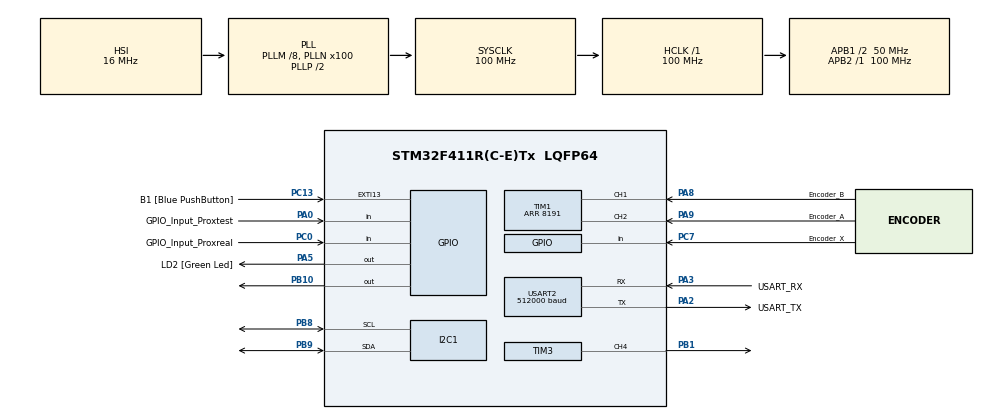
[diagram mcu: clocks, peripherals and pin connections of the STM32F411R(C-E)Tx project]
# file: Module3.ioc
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Dma.Request0=USART2_RX
Dma.Request1=USART2_TX
Dma.USART2_RX.0.Direction=DMA_PERIPH_TO_MEMORY
Dma.USART2_RX.0.FIFOMode=DMA_FIFOMODE_DISABLE
Dma.USART2_RX.0.Instance=DMA1_Stream5
Dma.USART2_RX.0.MemDataAlignment=DMA_MDATAALIGN_BYTE
Dma.USART2_RX.0.MemInc=DMA_MINC_ENABLE
Dma.USART2_RX.0.Mode=DMA_CIRCULAR
Dma.USART2_RX.0.PeriphDataAlignment=DMA_PDATAALIGN_BYTE
Dma.USART2_RX.0.PeriphInc=DMA_PINC_DISABLE
Dma.USART2_RX.0.Priority=DMA_PRIORITY_LOW
Dma.USART2_TX.1.Direction=DMA_MEMORY_TO_PERIPH
Dma.USART2_TX.1.FIFOMode=DMA_FIFOMODE_DISABLE
Dma.USART2_TX.1.Instance=DMA1_Stream6
Dma.USART2_TX.1.MemDataAlignment=DMA_MDATAALIGN_BYTE
Dma.USART2_TX.1.MemInc=DMA_MINC_ENABLE
Dma.USART2_TX.1.Mode=DMA_NORMAL
Dma.USART2_TX.1.PeriphDataAlignment=DMA_PDATAALIGN_BYTE
Dma.USART2_TX.1.PeriphInc=DMA_PINC_DISABLE
Dma.USART2_TX.1.Priority=DMA_PRIORITY_LOW
Mcu.Family=STM32F4
Mcu.Name=STM32F411R(C-E)Tx
Mcu.Package=LQFP64
NVIC.DMA1_Stream5_IRQn=true\:0\:0\:false\:false\:true\:false\:true
NVIC.DMA1_Stream6_IRQn=true\:0\:0\:false\:false\:true\:false\:true
NVIC.EXTI15_10_IRQn=true\:0\:0\:false\:false\:true\:true\:true
NVIC.PriorityGroup=NVIC_PRIORITYGROUP_0
NVIC.TIM2_IRQn=true\:0\:0\:false\:false\:true\:true\:true
NVIC.TIM4_IRQn=true\:0\:0\:false\:false\:true\:true\:true
NVIC.USART2_IRQn=true\:0\:0\:false\:false\:true\:true\:true
PA0-WKUP.GPIO_Label=GPIO_Input_Proxtest
PA0-WKUP.Signal=GPIO_Input
PA13.GPIO_Label=TMS
PA13.Mode=Serial_Wire
PA13.Signal=SYS_JTMS-SWDIO
PA14.GPIO_Label=TCK
PA14.Mode=Serial_Wire
PA14.Signal=SYS_JTCK-SWCLK
PA2.GPIO_Label=USART_TX
PA2.Mode=Asynchronous
PA2.Signal=USART2_TX
PA3.GPIO_Label=USART_RX
PA3.Mode=Asynchronous
PA3.Signal=USART2_RX
PA5.GPIO_Label=LD2 [Green Led]
PA5.Signal=GPIO_Output
PA8.GPIO_Label=Encoder_B
PA8.Signal=S_TIM1_CH1
PA9.GPIO_Label=Encoder_A
PA9.Signal=S_TIM1_CH2
PB1.Signal=S_TIM3_CH4
PB10.Signal=GPIO_Output
PB3.GPIO_Label=SWO
PB3.Signal=SYS_JTDO-SWO
PB8.Mode=I2C
PB8.Signal=I2C1_SCL
PB9.Mode=I2C
PB9.Signal=I2C1_SDA
PC0.GPIO_Label=GPIO_Input_Proxreal
PC0.Signal=GPIO_Input
PC13-ANTI_TAMP.GPIO_Label=B1 [Blue PushButton]
PC13-ANTI_TAMP.GPIO_ModeDefaultEXTI=GPIO_MODE_IT_FALLING
PC13-ANTI_TAMP.Signal=GPXTI13
PC14-OSC32_IN.Mode=LSE-External-Oscillator
PC14-OSC32_IN.Signal=RCC_OSC32_IN
PC15-OSC32_OUT.Mode=LSE-External-Oscillator
PC15-OSC32_OUT.Signal=RCC_OSC32_OUT
PC7.GPIO_Label=Encoder_X
PC7.Signal=GPIO_Input
PH0\ -\ OSC_IN.Mode=HSE-External-Clock-Source
PH0\ -\ OSC_IN.Signal=RCC_OSC_IN
PH1\ -\ OSC_OUT.Mode=HSE-External-Clock-Source
PH1\ -\ OSC_OUT.Signal=RCC_OSC_OUT
ProjectManager.HeapSize=0x200
ProjectManager.StackSize=0x400
ProjectManager.TargetToolchain=STM32CubeIDE
RCC.48MHZClocksFreq_Value=50000000
RCC.AHBFreq_Value=100000000
RCC.APB1CLKDivider=RCC_HCLK_DIV2
RCC.APB1Freq_Value=50000000
RCC.APB1TimFreq_Value=100000000
RCC.APB2Freq_Value=100000000
RCC.APB2TimFreq_Value=100000000
RCC.CortexFreq_Value=100000000
RCC.FLatency-AdvancedSettings=FLASH_LATENCY_3
RCC.HCLKFreq_Value=100000000
RCC.HSE_VALUE=8000000
RCC.HSI_VALUE=16000000
RCC.PLLM=8
RCC.PLLN=100
RCC.SYSCLKFreq_VALUE=100000000
RCC.SYSCLKSource=RCC_SYSCLKSOURCE_PLLCLK
RCC.VCOOutputFreq_Value=200000000
SH.S_TIM1_CH1.0=TIM1_CH1,Encoder_Interface
SH.S_TIM1_CH2.0=TIM1_CH2,Encoder_Interface
SH.S_TIM3_CH4.0=TIM3_CH4,PWM Generation4 CH4
TIM1.EncoderMode=TIM_ENCODERMODE_TI12
TIM1.Period=8191
TIM2.CounterMode=TIM_COUNTERMODE_UP
TIM2.Prescaler=99
TIM3.Channel-PWM\ Generation4\ CH4=TIM_CHANNEL_4
TIM3.Period=10000
TIM4.Period=1000
USART2.BaudRate=512000
USART2.Parity=PARITY_EVEN
USART2.VirtualMode=VM_ASYNC
USART2.WordLength=WORDLENGTH_9B
VP_TIM2_VS_ClockSourceINT.Mode=Internal
VP_TIM3_VS_ClockSourceINT.Mode=Internal
VP_TIM4_VS_ClockSourceINT.Mode=Internal
board=NUCLEO-F411RE

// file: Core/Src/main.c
/* USER CODE BEGIN Header */
/**
  ******************************************************************************
  * @file           : main.c
  * @brief          : Main program body
  ******************************************************************************
  * @attention
  *
  * <h2><center>&copy; Copyright (c) 2021 STMicroelectronics.
  * All rights reserved.</center></h2>
  *
  * This software component is licensed by ST under BSD 3-Clause license,
  * the "License"; You may not use this file except in compliance with the
  * License. You may obtain a copy of the License at:
  *                        opensource.org/licenses/BSD-3-Clause
  *
  ******************************************************************************
  */
/* USER CODE END Header */
#include "main.h"

/* USER CODE BEGIN Includes */
#include "math.h"
#include "string.h"
#include "stdio.h"
#include <stdlib.h>

/* USER CODE END Includes */

/* USER CODE BEGIN PD */
#define PWM_CHANNEL TIM_CHANNEL_4			//Set channel for PWM
#define GPIO_PIN_DIRECTION GPIO_PIN_10		//Set pin for direction

/* USER CODE END PD */

I2C_HandleTypeDef hi2c1;

TIM_HandleTypeDef htim1;
TIM_HandleTypeDef htim2;
TIM_HandleTypeDef htim3;
TIM_HandleTypeDef htim4;

UART_HandleTypeDef huart2;
DMA_HandleTypeDef hdma_usart2_rx;
DMA_HandleTypeDef hdma_usart2_tx;

/* USER CODE BEGIN PV */

uint8_t NO_KALMAN = 1;
uint8_t Prev_NO_KALMAN = 1;

uint64_t _micros = 0;				//Keep track of time
uint64_t Time_Sampling_Stamp = 0;	//Control loop time stamp
uint64_t Time_Velocity_Stamp = 0;
uint64_t Time_Trajectory_Stamp = 0;	//Time to calculate in "Trajectory_Generataion()"
uint16_t Encoder_Resolution = 8192; //2048*4
uint16_t Encoder_Overflow = 4096;	//8192/2
float pi = 3.14159265359;			//value of pi
const uint8_t Station_List[10] = {0,0,0,0,0,0,0,0,0,0};
uint16_t Goal_List[20] = {0};
uint16_t GO = 0;

uint16_t Distance_Length = 0;		//Long or Short distance
uint16_t Distance_Calculated = 0;	//Calculate distance yet?

//Velocity Control
float Velocity_Read_Encoder = 0;  		//Encoder's velocity Calculated from "Encoder_Velocity_Update()" in pulse per second
float Velocity_Now_RPM = 0;			//Encoder's velocity Calculated from "Encoder_Velocity_Update()" in RPM
float Velocity_Want_RPM = 0;		//Velocity calculated for control motor at the time
float Velocity_K_P = 2000;			//K_P of "Velocity_Control()"
float Velocity_K_I = 1;				//K_I of "Velocity_Control()"
float Velocity_K_D = 0;				//K_D of "Velocity_Control()"
float Velocity_Error = 0;			//Velocity error from Velocity_Want_RPM
float Velocity_Error_Sum = 0;		//Sum of Velocity_Error that will be use in integrate part of "Velocity_Control()"
float Velocity_Error_Diff = 0;		//Difference of Velocity_Error and Velocity_Error_Prev that will be use in differential part of "Velocity_Control()"
float Velocity_Error_Prev = 0;		//last Velocity_Error
int16_t PWM_Out = 0;				//PWM for motor
int16_t PWM_Out_Pre = 0;

//Position Control
float Position_Read_Encoder = 0;  		//Encoder's now position in CNT
float Position_Now_Degree = 0;		//Encoder's now position in degree
float Position_Want_Degree = 0;		//Position of the end point  (actually same as Point_Stop)
float Position_Prev_Degree = 0;		//Check that Position_Want_Degree changed or not
float Position_K_P = 228.62;		//K_P of "Position_Control()"
float Position_K_I = 0;			    //K_I of "Position_Control()"
float Position_K_D = 7.1;			//K_D of "Position_Control()"
float Position_Error = 0;			//Position error from Position_Want_Degree
float Position_Error_Sum = 0;		//Sum of Position_Error that will be use in integrate part of "Position_Control()"
float Position_Error_Diff = 0;		//Difference of Position_Error and Position_Error_Prev that will be use in differential part of "Position_Control()"
float Position_Error_Prev = 0;		//last Position_Error

//Trajectory Generation
float Accel_Max = 0.5;			    //Max acceleration & fixed at 0.5
float Velocity_Now_Rad = 0;			//Encoder's velocity Calculated from "Encoder_Velocity_Update()" in radian per second
float Velocity_Max_RPM = 10;		//Max velocity in RPM & wanted Velocity that system try to achieve & can be change by UART mode 4
float Velocity_Max_Rad = 0;			//Max velocity in radian per second
float Velocity_Achieve_RPM = 0;	    //Velocity limit in RPM motor can achieve in short distance
float Velocity_Achieve_Rad = 0; 	//Velocity limit in radian per second motor can achieve in short distance
float Distance_Degree_Set = 0;		//Distance from Point_Start to Point_Stop in degree
float Distance_Radian_Set = 0;		//Distance from Point_Start to Point_Stop in radian
float Distance_Blend = 0;			//Calculated distance for when a != 0 and check that have enough distance and time to achieve Velocity_Max_RPM or not
float Distance_Center = 0;			//Distance when Velocity_Want = Velocity_Max_RPM
float Position_Start = 0;			//Start position
float Position_Now_Rad = 0;				//Encoder's now position in radian
float Time_Blend = 0;				//Calculated time for when a != 0 and have enough distance and time to achieve Velocity_Max_RPM
float Time_All = 0;					//Calculated time for all distance
float Time_Center = 0;
uint64_t Time_Start = 0;			//Start time
float Time_Blend_Micro = 0;			//Time_Blend in microsecond
float Time_All_Micro = 0;			//Time_All in microsecond
float Time_Center_Micro = 0;
uint16_t Trajectory_Flag = 0;		//For keeping Position_Start & Time_Start or Finished

//Kalman_Filter
float Sigma_a = 14;
float Sigma_w = 0.8;
float Q = 0;
float R = 0;
float Position_Kalman = 0;
float Velocity_Kalman = 0;
float p11 = 0;
float p12 = 0;
float p21 = 0;
float p22 = 0;
const float CON_T = 0.001;

//debugging
float Flag4 = 0;
float P1 = 0;
float P2 = 0;
float P3 = 0;
float Distance_Traveled = 0;

//Mai's part debug
//quintic polynomial
//requirement
float angle_rad_start = 0; //rad
float angle_rad_stop = 0; //rad
float omega_max = 1; // 1 rad/s = 10 rpm
float alpha_max = 0.5; // rad/s^2
//find time duration for each viapoint
float tau_max = 0; // sec
float time_initial = 0; //initial time of each viapoint
//coeffient parameter
float c_0 = 0;
float c_1 = 0;
float c_2 = 0;
float c_3 = 0;
float c_4 = 0;
float c_5 = 0;
//parameter
uint8_t initial = 1;
float tau = 0; //sec
//position control
float desired_position = 0;
float error_position = 0;
float error_position_diff = 0;
float error_position_int = 0;
float error_position_prev = 0;
float position_kp = 1;
float position_ki = 0;
float position_kd = 0;
float position_bias = 0;
//velocity control
float command_velocity = 0;
float desired_velocity = 0;
float error_velocity = 0;
float error_velocity_diff = 0;
float error_velocity_int = 0;
float error_velocity_prev = 0;
float velocity_kp = 9000;
float velocity_ki = 8000;
float velocity_kd = 10;
float velocity_bias = 0;
//kalman filter
float theta_predict = 0;
float omega_predict = 0;
float theta_estimate = 0;
float omega_estimate = 0;
float p_predict11 = 0 ;
float p_predict12 = 0 ;
float p_predict21 = 0 ;
float p_predict22 = 0 ;
float p_estimate11 = 1 ;
float p_estimate12 = 0 ;
float p_estimate21 = 0 ;
float p_estimate22 = 1 ;
float z_predict = 0;
float s = 0;
float k11 = 0;
float k21 = 0;
uint64_t Prox_Delay = 0;
uint64_t Time_Delay = 0;
int i = 0;
int j = 0;
uint16_t Delay = 0;
//set home
int set_home_state = 0; //set home first
GPIO_PinState Proximity[2]; //save proximity state
int set_home_finished = 0; //already to control
float save_angle = 0; //sae angle that proximity detects robot arm
int find_proximity = 0;
uint8_t STATE_DISPLAY = 0;
uint8_t previous_state = 0;
uint8_t clear_counter_velocity = 0;
uint8_t clear_counter_position = 0;
enum State_Display{
//	SetHome_180_1 = 0,
//	SetHome_180_2,
//	Quintic,
//	Go_to_proximity,

	FindPorximity = 0,
	FoundProximity,
	GotoProximity,
	QinticStaff,
	QinticFinish,
};

//UART Protocol
typedef struct _UartStructure
{
	UART_HandleTypeDef *huart;
	uint16_t TxLen, RxLen;
	uint8_t *TxBuffer;
	uint16_t TxTail, TxHead;
	uint8_t *RxBuffer;
	uint16_t RxTail; //RXHeadUseDMA

} UARTStucrture;
uint8_t UART_Ack1[2] = {88,117};
uint8_t UART_Ack2[2] = {70,110};
UARTStucrture UART2 = {0};

typedef enum
{
	Start_Mode,
	N_Station,
	Data_Frame,
	Check_Sum,
}UART_State;

typedef enum
{
	Test_Command = 145,
	Connect_MCU,
	Disconnect_MCU,
	Velocity_Set,
	Position_Set,
	Goal_1_Set,
	Goal_N_Set,
	Go_to_Goal,
	Station_Request,
	Position_Request,
	Velocity_Request,
	Gripper_On,
	Gripper_Off,
	Home_Set
}UART_Mode;

UART_State State = Start_Mode;
UART_Mode Mode = 144;
uint8_t Frame;
uint8_t N;
uint8_t Data;
uint8_t Sum;
uint8_t len;

/* USER CODE END PV */

void SystemClock_Config(void);
static void MX_GPIO_Init(void);
static void MX_DMA_Init(void);
static void MX_USART2_UART_Init(void);
static void MX_TIM1_Init(void);
static void MX_TIM3_Init(void);
static void MX_TIM2_Init(void);
static void MX_I2C1_Init(void);
static void MX_TIM4_Init(void);
/* USER CODE BEGIN PFP */
uint64_t micros();
float Encoder_Velocity_Update();	//Read Encoder position and calculate into velocity
void Motor_Drive_PWM();				//Supply PWM and control motor
void Velocity_Control();			//PID velocity control and calculate PWM for "Motor_Drive_PWM()"
void Position_Control();			//PID position control for short distance
void Trajectory_Generation();		//Calculate velocity base on Accel_Max for long distance
void Distance_Calculation();		//Calculate distance if it short or long
void Kalman_Filter();

void UARTInit(UARTStucrture *uart);
void UARTResetStart(UARTStucrture *uart);
uint32_t UARTGetRxHead(UARTStucrture *uart);
int16_t UARTReadChar(UARTStucrture *uart);
void UARTTxDumpBuffer(UARTStucrture *uart);
void UARTTxWrite(UARTStucrture *uart, uint8_t *pData, uint16_t len);
void UART_Protocol(UARTStucrture *uart, int16_t dataIn);
void UART_Do_Command();

//Mai function
void cascade_control_with_feed_forward();
void quintic();
float Encoder_Position_Update();	//Read Encoder position unwrap

/* USER CODE END PFP */

int main(void)
{

  /* MCU Configuration--------------------------------------------------------*/

  /* Reset of all peripherals, Initializes the Flash interface and the Systick. */
  HAL_Init();

  /* Configure the system clock */
  SystemClock_Config();

  /* Initialize all configured peripherals */
  MX_GPIO_Init();
  MX_DMA_Init();
  MX_USART2_UART_Init();
  MX_TIM1_Init();
  MX_TIM3_Init();
  MX_TIM2_Init();
  MX_I2C1_Init();
  MX_TIM4_Init();
  /* USER CODE BEGIN 2 */
  HAL_TIM_Base_Start_IT(&htim2);					//micros()
  HAL_TIM_Encoder_Start(&htim1, TIM_CHANNEL_ALL);   //Start reading encoder
  HAL_TIM_Base_Start(&htim3);						//Start TIM3
  HAL_TIM_PWM_Start(&htim3, TIM_CHANNEL_4);			//Start PWM TIM3

  UART2.huart = &huart2;
  UART2.RxLen = 255;
  UART2.TxLen = 255;
  UARTInit(&UART2);
  UARTResetStart(&UART2);

  /* USER CODE END 2 */

  /* Infinite loop */
  while (1)
  {

    /* USER CODE BEGIN 3 */

	  	int16_t inputChar = UARTReadChar(&UART2);
	  	if (inputChar != -1)
	  	{
	  		UART_Protocol(&UART2, inputChar);
			len+=1;

	  	}

	  if (micros() - Time_Velocity_Stamp >= 100) //measurement
	  {
		  Time_Velocity_Stamp = micros();
		  Velocity_Read_Encoder = (Velocity_Read_Encoder*9999 + Encoder_Velocity_Update())/(float)10000; //pulse per sec
//		  Velocity_Read_Encoder = Encoder_Velocity_Update();
		  Velocity_Now_RPM = (Velocity_Read_Encoder*60)/Encoder_Resolution;	//Convert Velocity_Read_Encoder (Encoder's velocity at the moment) to RPM
		  Velocity_Now_Rad = (Velocity_Now_RPM*2*pi)/60;

		  //read position
//		  Position_Read_Encoder = htim1.Instance->CNT;
		  Position_Read_Encoder = Encoder_Position_Update();
		  Position_Now_Rad = (Position_Read_Encoder*2*M_PI)/Encoder_Resolution;  //rad
	  }

	  if (micros() - Time_Sampling_Stamp >= 1000)	  //Control loop
	  {
		  	PWM_Out_Pre = PWM_Out;
			Time_Sampling_Stamp = micros();

			//frang code set home
			Proximity[0] = HAL_GPIO_ReadPin(GPIOA, GPIO_PIN_1);
			if (set_home_finished == 0)
			{
				switch (STATE_DISPLAY) {

					case FindPorximity:
						PWM_Out = 5000;
						__HAL_TIM_SET_COMPARE(&htim3, PWM_CHANNEL, abs(PWM_Out));
						HAL_GPIO_WritePin(GPIOB, GPIO_PIN_DIRECTION, GPIO_PIN_SET);
						if (Proximity[0] == GPIO_PIN_SET && Proximity[1] == GPIO_PIN_RESET) //if not set home & proximity detects robot arm
						{
							find_proximity = 1;
							save_angle = Position_Now_Rad; //save angle that proximity detect robot arm
							Time_Delay = micros();
							Prox_Delay = micros();
							STATE_DISPLAY = FoundProximity;
						}
						break;
					case FoundProximity:
						if(micros() - Time_Delay >= 1000000){
							Time_Delay = micros();
							for ( i = 0; i < 8; ++i) {
									PWM_Out = 3*PWM_Out/4;
									__HAL_TIM_SET_COMPARE(&htim3, PWM_CHANNEL, abs(PWM_Out));
							}
						}

						if(i == 8){
//							angle_rad_start = Position_Now_Rad;
//							angle_rad_stop = Position_Now_Rad + M_PI/4;
							if (micros() - Prox_Delay >= 500000){
								Prox_Delay = micros();
								Delay += 1;
							}
							if(Delay >= 2){
								STATE_DISPLAY = GotoProximity;
							}

						}
						break;
					case GotoProximity:
						angle_rad_start = Position_Now_Rad;
						angle_rad_stop = save_angle;
						STATE_DISPLAY = QinticFinish;
						break;
					case QinticStaff:
						i = 0;
						j=0;
						quintic();
						if (initial == 1){
							if (micros() - Prox_Delay >= 500000){
								Prox_Delay = micros();
								Delay += 1;
							}
							if(Delay >= 5){
								STATE_DISPLAY = GotoProximity;
							}
						}

						break;
					case QinticFinish:
						quintic();
						if (initial == 1){
							if (micros()/1000000.0 - time_initial >= tau_max + 2)
							{
								Prox_Delay = micros();
								set_home_finished = 1;
								angle_rad_start = 0;
								angle_rad_stop = 0;
								htim1.Instance->CNT = 0;
								Position_Now_Rad = 0;
								clear_counter_position = 1;
								clear_counter_velocity = 1;
							}

						}
						break;
					default:
						break;
				}
			}

			if (set_home_finished == 1)
			{
				if (initial == 1 && angle_rad_stop - angle_rad_start != 0)
				{
					//calculate tau
					//short if condition
					tau_max = 15/8*(angle_rad_stop - angle_rad_start)/omega_max >= sqrtf(abs(((10*powf(3+sqrtf(3),1))-(5*powf(3+sqrtf(3),2))+(5*powf(3+sqrtf(3),3)/9))*(angle_rad_stop-angle_rad_start)/alpha_max)) ? 15/8*(angle_rad_stop - angle_rad_start)/omega_max : sqrtf(abs(((10*powf(3+sqrtf(3),1))-(5*powf(3+sqrtf(3),2))+(5*powf(3+sqrtf(3),3)/9))*(angle_rad_stop-angle_rad_start)/alpha_max));
				//	if (15/8*(angle_rad_stop - angle_rad_start)/omega_max >= sqrt(((10*pow(3+sqrt(3),1))-(5*pow(3+sqrt(3),2))+(5/9*pow(3+sqrt(3),3)))*(angle_rad_stop-angle_rad_start)/alpha_max))
				//	{
				//		tau_max = 15/8*(angle_rad_stop - angle_rad_start)/omega_max;
				//	}
				//	else
				//	{
				//		tau_max = sqrtf(abs(((10*powf(3+sqrtf(3),1))-(5*powf(3+sqrtf(3),2))+(5/9*powf(3+sqrtf(3),3)))*(angle_rad_stop-angle_rad_start)/alpha_max));
				//	}

					//debug
					//problem is maybe sqrt / sqrtf
				//	tau_max = 10;

					//calculate coeffient
					c_0 = angle_rad_start;
					c_1 = 0;
					c_2 = 0;
					c_3 = 10*((angle_rad_stop - angle_rad_start)/(powf(tau_max,3)));
					c_4 = 15*((angle_rad_start - angle_rad_stop)/(powf(tau_max,4)));
					c_5 = 6*((angle_rad_stop - angle_rad_start)/(powf(tau_max,5)));
					//save initial time
					//change microsec to second
					time_initial = micros()/1000000.0;
					initial = 0;

					//initial parameter in kalman filter
					theta_estimate = angle_rad_start;
					omega_estimate = 0;
					p_estimate11 = 1 ;
					p_estimate12 = 0 ;
					p_estimate21 = 0 ;
					p_estimate22 = 1 ;

				}
				if (initial == 0 && angle_rad_stop - angle_rad_start != 0 )
				{
					//at the final point
					//tau = (micros()/1000000.0)-time_initial ; in second unit
					if ((micros()/1000000.0)-time_initial >= tau_max)
					{
						initial = 1;
						angle_rad_start = angle_rad_stop;
						PWM_Out = 0;
						__HAL_TIM_SET_COMPARE(&htim3, PWM_CHANNEL, PWM_Out);
						error_position = 0;
						error_position_diff = 0;
						error_position_int = 0;
						error_position_prev = 0;
						error_velocity = 0;
						error_velocity_diff = 0;
						error_velocity_int = 0;
						error_velocity_prev = 0;
					}
					else //on going to final point
					{
						//tau = real time - initial time (duration in second unit)
						tau = micros()/1000000.0 - time_initial;
						desired_position = c_0*powf(tau,0) + c_1*powf(tau,1) + c_2*powf(tau,2) + c_3*powf(tau,3) + c_4*powf(tau,4) + c_5*powf(tau,5);
						desired_velocity = 0 + c_1 + 2*c_2*powf(tau,1) + 3*c_3*powf(tau,2) + 4*c_4*powf(tau,3) + 5*c_5*powf(tau,4);

						//kalman filter
						//predict state
						//x_predict = A*x_estimate
						//x_predict = [theta_predict; omega_predict]
						//A = [1 dt; 0 1]
						//x_estimate = [theta_estimate; omega_estimate]
						theta_predict = theta_estimate + omega_estimate*CON_T;
						omega_predict = omega_estimate;
						//p_predict = A*p_estimate*transpose(A) + G*Q*transpose(G)
						//p_predict = [p_predict11 p_predict12 ; p_predict21 p_predict22]
						//p_estimate = [p_estimate11 p_estimate12 ; p_estimate21 p_estimate22] -> initial [1 0; 0 1]
						//G = [0.5*dt^2 ; dt]
						//Q = Sigma_a^2
						Q = powf(Sigma_a,2);
						p_predict11 = p_estimate11 + (p_estimate12 + p_estimate21)*CON_T + p_estimate22*powf(CON_T,2)+powf(CON_T,4)*Q/4.0;
						p_predict12 = p_estimate12 + p_estimate22*CON_T + powf(CON_T,3)*Q/2.0;
						p_predict21 = p_estimate21 + p_estimate22*CON_T + powf(CON_T,3)*Q/2.0;
						p_predict22 = p_estimate22 + powf(CON_T,2)*Q;

						//update
						//z_predict = z - C*x_predict
						//z_predict = theta_error
						//z = sensor_theta_input
						//C = [0 1]
						z_predict = Velocity_Now_Rad - omega_predict;

						//S = C*p_predict*transpose(C) + R
						//R = Sigma_w^2
						R = powf(Sigma_w,2);
						s = p_predict22 + R;

						//K = p_predict*transpose(C)*inv(S)
						//K = [k11;k21]
						k11 = p_predict12/s;
						k21 = p_predict22/s;

						//x_estimate = x_predict + K*z_predict
						theta_estimate = theta_predict + k11*z_predict;
						omega_estimate = omega_predict + k21*z_predict;

						//p_estimate = (I - K*C)*p_predict
						//I = [1 0; 0 1]
						p_estimate11 = (p_predict11*(p_predict22+R)-p_predict12*p_predict21)/s;
						p_estimate12 = p_predict12*R/s;
						p_estimate21 = p_predict21*R/s;
						p_estimate22 = p_predict22*R/s;

						if (angle_rad_start < angle_rad_stop)
						{
							position_kd = 0;
							position_ki = 0;
							position_kp = 0.25;
							velocity_kd = 0;
							velocity_ki = 6000;
							velocity_kp = 8000;
						}
						else
						{
							position_kd = 0;
							position_ki = 0;
							position_kp = 0.5;
							velocity_kd = 0;
							velocity_ki = 1500;
							velocity_kp = 4000;
						}
						//position control
						error_position = desired_position - Position_Now_Rad;
						error_position_diff = (error_position - error_position_prev)*1000.0;
						error_position_int = error_position_int + error_position/1000.0;
						command_velocity = position_kp*error_position + position_ki*error_position_int + position_kd*error_position_diff + position_bias;
						error_position_prev = error_position;

				//		limitter velocity
						if (command_velocity > 1)
						{
							command_velocity = 1;
						}
						else if (command_velocity < -1)
						{
							command_velocity = -1;
						}

						//velocity control
						error_velocity = desired_velocity - omega_estimate + command_velocity;
						error_velocity_diff = (error_velocity - error_velocity_prev)*1000.0;
						error_velocity_int = error_velocity_int + error_velocity/1000.0;
						PWM_Out = velocity_kp*error_velocity + velocity_ki*error_velocity_int + velocity_kd*error_velocity_diff + velocity_bias;
						error_velocity_prev = error_velocity;

				//		if ((PWM_Out > 200) || (PWM_Out < -200) )
				//		{
				//			if (PWM_Out > PWM_Out_Pre + 5)
				//			{
				//				PWM_Out = PWM_Out_Pre + 5;
				//			}
				//			else if (PWM_Out < PWM_Out_Pre - 5)
				//			{
				//				PWM_Out = PWM_Out_Pre - 5;
				//			}
				//		}

						//limitter pwm
						if (PWM_Out > 10000)
						{
							PWM_Out = 10000;
						}
						else if (PWM_Out < -10000)
						{
							PWM_Out = -10000;
						}

				//		if (tau < tau_max/2)
				//		{
				//			if (PWM_Out < 0)
				//			{
				//				PWM_Out = -PWM_Out;
				//			}
				//		}

						//control motor direction
						if (PWM_Out < 0)
//						if (angle_rad_start > angle_rad_stop)
						{
							__HAL_TIM_SET_COMPARE(&htim3, PWM_CHANNEL, abs(PWM_Out));
							HAL_GPIO_WritePin(GPIOB, GPIO_PIN_DIRECTION, GPIO_PIN_RESET);
						}
				//		else if (PWM_Out >= 0)
						else
						{
							__HAL_TIM_SET_COMPARE(&htim3, PWM_CHANNEL, abs(PWM_Out));
							HAL_GPIO_WritePin(GPIOB, GPIO_PIN_DIRECTION, GPIO_PIN_SET);
						}

					}
				}
			}

//			if(NO_KALMAN)
//			{
//				Position_Read_Encoder = htim1.Instance->CNT; //Read Encoder
//				Position_Now_Degree = (Position_Read_Encoder*360)/Encoder_Resolution; //Convert Encoder CNT to degree
//				NO_KALMAN=Prev_NO_KALMAN;
//			}
//			else
//			{
//				if(NO_KALMAN!=Prev_NO_KALMAN)
//				{
//					Position_Read_Encoder = htim1.Instance->CNT; //Read Encoder
//					Position_Now_Degree = (Position_Read_Encoder*360)/Encoder_Resolution; //Convert Encoder CNT to degree
//					Position_Kalman = Position_Now_Degree*pi/180;
//				}
//
//				Kalman_Filter();
//				Position_Now_Rad = Position_Kalman;
//				Velocity_Now_Rad = Velocity_Kalman;
//				Position_Now_Degree = Position_Now_Rad*180/pi;
//			}
//
//
//		if ((Distance_Calculated == 0 )&& (Position_Now_Degree != Position_Want_Degree)) //Distance not calculated and not arrive at next station
//			{
//				Distance_Calculation();		//Calculate distance
//			}
//			else if ((Distance_Calculated == 1) && (Position_Now_Degree != Position_Want_Degree) && (Trajectory_Flag < 5)) //Distance calculated and not arrive at next station
//			{
//				Trajectory_Generation();	//Get Velocity_Want_RPM
//				Velocity_Control();
//				Motor_Drive_PWM();			//Drive
//
//				if(Trajectory_Flag == 4)
//				{
//					/*if(Distance_Length == 0)
//					{
//						Trajectory_Flag = 5;
//					}
//					else if (Distance_Length == 1)
//					{
//						Distance_Calculation();
//						Trajectory_Flag = 0;
//					}*/
//
//					Trajectory_Flag = 5;
//
//				}
//
//
//			}
//
//
//			if (Trajectory_Flag == 5)		//Reach next station
//			{
//
//				if (Position_Prev_Degree != Position_Want_Degree)	//Change goal
//				{
//					Trajectory_Flag = 0;	//Reset flag
//					Distance_Calculated = 0;//Reset distance
//					Velocity_Want_RPM = 0;  //Reset Velocity_Want_RPM
//					Velocity_Error_Sum = 0;
//				}
//				Velocity_Want_RPM = 0;
//				Velocity_Control();
//				PWM_Out = 0;
//				Motor_Drive_PWM();			//Drive
//
//			}
//			Position_Prev_Degree = Position_Want_Degree; //Check that Position_Want_Degree change or not

	  }
  }
  /* USER CODE END 3 */
}

void SystemClock_Config(void)
{
  RCC_OscInitTypeDef RCC_OscInitStruct = {0};
  RCC_ClkInitTypeDef RCC_ClkInitStruct = {0};

  /** Configure the main internal regulator output voltage
  */
  __HAL_RCC_PWR_CLK_ENABLE();
  __HAL_PWR_VOLTAGESCALING_CONFIG(PWR_REGULATOR_VOLTAGE_SCALE1);
  /** Initializes the RCC Oscillators according to the specified parameters
  * in the RCC_OscInitTypeDef structure.
  */
  RCC_OscInitStruct.OscillatorType = RCC_OSCILLATORTYPE_HSI;
  RCC_OscInitStruct.HSIState = RCC_HSI_ON;
  RCC_OscInitStruct.HSICalibrationValue = RCC_HSICALIBRATION_DEFAULT;
  RCC_OscInitStruct.PLL.PLLState = RCC_PLL_ON;
  RCC_OscInitStruct.PLL.PLLSource = RCC_PLLSOURCE_HSI;
  RCC_OscInitStruct.PLL.PLLM = 8;
  RCC_OscInitStruct.PLL.PLLN = 100;
  RCC_OscInitStruct.PLL.PLLP = RCC_PLLP_DIV2;
  RCC_OscInitStruct.PLL.PLLQ = 4;
  if (HAL_RCC_OscConfig(&RCC_OscInitStruct) != HAL_OK)
  {
    Error_Handler();
  }
  /** Initializes the CPU, AHB and APB buses clocks
  */
  RCC_ClkInitStruct.ClockType = RCC_CLOCKTYPE_HCLK|RCC_CLOCKTYPE_SYSCLK
                              |RCC_CLOCKTYPE_PCLK1|RCC_CLOCKTYPE_PCLK2;
  RCC_ClkInitStruct.SYSCLKSource = RCC_SYSCLKSOURCE_PLLCLK;
  RCC_ClkInitStruct.AHBCLKDivider = RCC_SYSCLK_DIV1;
  RCC_ClkInitStruct.APB1CLKDivider = RCC_HCLK_DIV2;
  RCC_ClkInitStruct.APB2CLKDivider = RCC_HCLK_DIV1;

  if (HAL_RCC_ClockConfig(&RCC_ClkInitStruct, FLASH_LATENCY_3) != HAL_OK)
  {
    Error_Handler();
  }
}

static void MX_I2C1_Init(void)
{

  hi2c1.Instance = I2C1;
  hi2c1.Init.ClockSpeed = 100000;
  hi2c1.Init.DutyCycle = I2C_DUTYCYCLE_2;
  hi2c1.Init.OwnAddress1 = 0;
  hi2c1.Init.AddressingMode = I2C_ADDRESSINGMODE_7BIT;
  hi2c1.Init.DualAddressMode = I2C_DUALADDRESS_DISABLE;
  hi2c1.Init.OwnAddress2 = 0;
  hi2c1.Init.GeneralCallMode = I2C_GENERALCALL_DISABLE;
  hi2c1.Init.NoStretchMode = I2C_NOSTRETCH_DISABLE;
  if (HAL_I2C_Init(&hi2c1) != HAL_OK)
  {
    Error_Handler();
  }

}

static void MX_TIM1_Init(void)
{

  TIM_Encoder_InitTypeDef sConfig = {0};
  TIM_MasterConfigTypeDef sMasterConfig = {0};

  htim1.Instance = TIM1;
  htim1.Init.Prescaler = 0;
  htim1.Init.CounterMode = TIM_COUNTERMODE_UP;
  htim1.Init.Period = 8191;
  htim1.Init.ClockDivision = TIM_CLOCKDIVISION_DIV1;
  htim1.Init.RepetitionCounter = 0;
  htim1.Init.AutoReloadPreload = TIM_AUTORELOAD_PRELOAD_DISABLE;
  sConfig.EncoderMode = TIM_ENCODERMODE_TI12;
  sConfig.IC1Polarity = TIM_ICPOLARITY_RISING;
  sConfig.IC1Selection = TIM_ICSELECTION_DIRECTTI;
  sConfig.IC1Prescaler = TIM_ICPSC_DIV1;
  sConfig.IC1Filter = 0;
  sConfig.IC2Polarity = TIM_ICPOLARITY_RISING;
  sConfig.IC2Selection = TIM_ICSELECTION_DIRECTTI;
  sConfig.IC2Prescaler = TIM_ICPSC_DIV1;
  sConfig.IC2Filter = 0;
  if (HAL_TIM_Encoder_Init(&htim1, &sConfig) != HAL_OK)
  {
    Error_Handler();
  }
  sMasterConfig.MasterOutputTrigger = TIM_TRGO_RESET;
  sMasterConfig.MasterSlaveMode = TIM_MASTERSLAVEMODE_DISABLE;
  if (HAL_TIMEx_MasterConfigSynchronization(&htim1, &sMasterConfig) != HAL_OK)
  {
    Error_Handler();
  }

}

static void MX_TIM2_Init(void)
{

  TIM_ClockConfigTypeDef sClockSourceConfig = {0};
  TIM_MasterConfigTypeDef sMasterConfig = {0};

  htim2.Instance = TIM2;
  htim2.Init.Prescaler = 99;
  htim2.Init.CounterMode = TIM_COUNTERMODE_UP;
  htim2.Init.Period = 4294967295;
  htim2.Init.ClockDivision = TIM_CLOCKDIVISION_DIV1;
  htim2.Init.AutoReloadPreload = TIM_AUTORELOAD_PRELOAD_DISABLE;
  if (HAL_TIM_Base_Init(&htim2) != HAL_OK)
  {
    Error_Handler();
  }
  sClockSourceConfig.ClockSource = TIM_CLOCKSOURCE_INTERNAL;
  if (HAL_TIM_ConfigClockSource(&htim2, &sClockSourceConfig) != HAL_OK)
  {
    Error_Handler();
  }
  sMasterConfig.MasterOutputTrigger = TIM_TRGO_RESET;
  sMasterConfig.MasterSlaveMode = TIM_MASTERSLAVEMODE_DISABLE;
  if (HAL_TIMEx_MasterConfigSynchronization(&htim2, &sMasterConfig) != HAL_OK)
  {
    Error_Handler();
  }
  /* USER CODE BEGIN TIM2_Init 2 */
  __HAL_TIM_CLEAR_FLAG(&htim2, TIM_SR_UIF);

  /* USER CODE END TIM2_Init 2 */

}

static void MX_TIM3_Init(void)
{

  TIM_ClockConfigTypeDef sClockSourceConfig = {0};
  TIM_MasterConfigTypeDef sMasterConfig = {0};
  TIM_OC_InitTypeDef sConfigOC = {0};

  htim3.Instance = TIM3;
  htim3.Init.Prescaler = 0;
  htim3.Init.CounterMode = TIM_COUNTERMODE_UP;
  htim3.Init.Period = 10000;
  htim3.Init.ClockDivision = TIM_CLOCKDIVISION_DIV1;
  htim3.Init.AutoReloadPreload = TIM_AUTORELOAD_PRELOAD_DISABLE;
  if (HAL_TIM_Base_Init(&htim3) != HAL_OK)
  {
    Error_Handler();
  }
  sClockSourceConfig.ClockSource = TIM_CLOCKSOURCE_INTERNAL;
  if (HAL_TIM_ConfigClockSource(&htim3, &sClockSourceConfig) != HAL_OK)
  {
    Error_Handler();
  }
  if (HAL_TIM_PWM_Init(&htim3) != HAL_OK)
  {
    Error_Handler();
  }
  sMasterConfig.MasterOutputTrigger = TIM_TRGO_RESET;
  sMasterConfig.MasterSlaveMode = TIM_MASTERSLAVEMODE_DISABLE;
  if (HAL_TIMEx_MasterConfigSynchronization(&htim3, &sMasterConfig) != HAL_OK)
  {
    Error_Handler();
  }
  sConfigOC.OCMode = TIM_OCMODE_PWM1;
  sConfigOC.Pulse = 0;
  sConfigOC.OCPolarity = TIM_OCPOLARITY_HIGH;
  sConfigOC.OCFastMode = TIM_OCFAST_DISABLE;
  if (HAL_TIM_PWM_ConfigChannel(&htim3, &sConfigOC, TIM_CHANNEL_4) != HAL_OK)
  {
    Error_Handler();
  }
  HAL_TIM_MspPostInit(&htim3);

}

static void MX_TIM4_Init(void)
{

  TIM_ClockConfigTypeDef sClockSourceConfig = {0};
  TIM_MasterConfigTypeDef sMasterConfig = {0};

  htim4.Instance = TIM4;
  htim4.Init.Prescaler = 0;
  htim4.Init.CounterMode = TIM_COUNTERMODE_UP;
  htim4.Init.Period = 1000;
  htim4.Init.ClockDivision = TIM_CLOCKDIVISION_DIV1;
  htim4.Init.AutoReloadPreload = TIM_AUTORELOAD_PRELOAD_DISABLE;
  if (HAL_TIM_Base_Init(&htim4) != HAL_OK)
  {
    Error_Handler();
  }
  sClockSourceConfig.ClockSource = TIM_CLOCKSOURCE_INTERNAL;
  if (HAL_TIM_ConfigClockSource(&htim4, &sClockSourceConfig) != HAL_OK)
  {
    Error_Handler();
  }
  sMasterConfig.MasterOutputTrigger = TIM_TRGO_RESET;
  sMasterConfig.MasterSlaveMode = TIM_MASTERSLAVEMODE_DISABLE;
  if (HAL_TIMEx_MasterConfigSynchronization(&htim4, &sMasterConfig) != HAL_OK)
  {
    Error_Handler();
  }

}

static void MX_USART2_UART_Init(void)
{

  huart2.Instance = USART2;
  huart2.Init.BaudRate = 512000;
  huart2.Init.WordLength = UART_WORDLENGTH_9B;
  huart2.Init.StopBits = UART_STOPBITS_1;
  huart2.Init.Parity = UART_PARITY_EVEN;
  huart2.Init.Mode = UART_MODE_TX_RX;
  huart2.Init.HwFlowCtl = UART_HWCONTROL_NONE;
  huart2.Init.OverSampling = UART_OVERSAMPLING_16;
  if (HAL_UART_Init(&huart2) != HAL_OK)
  {
    Error_Handler();
  }

}

static void MX_DMA_Init(void)
{

  /* DMA controller clock enable */
  __HAL_RCC_DMA1_CLK_ENABLE();

  /* DMA interrupt init */
  /* DMA1_Stream5_IRQn interrupt configuration */
  HAL_NVIC_SetPriority(DMA1_Stream5_IRQn, 0, 0);
  HAL_NVIC_EnableIRQ(DMA1_Stream5_IRQn);
  /* DMA1_Stream6_IRQn interrupt configuration */
  HAL_NVIC_SetPriority(DMA1_Stream6_IRQn, 0, 0);
  HAL_NVIC_EnableIRQ(DMA1_Stream6_IRQn);

}

static void MX_GPIO_Init(void)
{
  GPIO_InitTypeDef GPIO_InitStruct = {0};

  /* GPIO Ports Clock Enable */
  __HAL_RCC_GPIOC_CLK_ENABLE();
  __HAL_RCC_GPIOH_CLK_ENABLE();
  __HAL_RCC_GPIOA_CLK_ENABLE();
  __HAL_RCC_GPIOB_CLK_ENABLE();

  /*Configure GPIO pin Output Level */
  HAL_GPIO_WritePin(LD2_GPIO_Port, LD2_Pin, GPIO_PIN_RESET);

  /*Configure GPIO pin Output Level */
  HAL_GPIO_WritePin(GPIOB, GPIO_PIN_10, GPIO_PIN_RESET);

  /*Configure GPIO pin : B1_Pin */
  GPIO_InitStruct.Pin = B1_Pin;
  GPIO_InitStruct.Mode = GPIO_MODE_IT_FALLING;
  GPIO_InitStruct.Pull = GPIO_NOPULL;
  HAL_GPIO_Init(B1_GPIO_Port, &GPIO_InitStruct);

  /*Configure GPIO pins : GPIO_Input_Proxreal_Pin Encoder_X_Pin */
  GPIO_InitStruct.Pin = GPIO_Input_Proxreal_Pin|Encoder_X_Pin;
  GPIO_InitStruct.Mode = GPIO_MODE_INPUT;
  GPIO_InitStruct.Pull = GPIO_NOPULL;
  HAL_GPIO_Init(GPIOC, &GPIO_InitStruct);

  /*Configure GPIO pin : GPIO_Input_Proxtest_Pin */
  GPIO_InitStruct.Pin = GPIO_Input_Proxtest_Pin;
  GPIO_InitStruct.Mode = GPIO_MODE_INPUT;
  GPIO_InitStruct.Pull = GPIO_NOPULL;
  HAL_GPIO_Init(GPIO_Input_Proxtest_GPIO_Port, &GPIO_InitStruct);

  /*Configure GPIO pin : LD2_Pin */
  GPIO_InitStruct.Pin = LD2_Pin;
  GPIO_InitStruct.Mode = GPIO_MODE_OUTPUT_PP;
  GPIO_InitStruct.Pull = GPIO_NOPULL;
  GPIO_InitStruct.Speed = GPIO_SPEED_FREQ_LOW;
  HAL_GPIO_Init(LD2_GPIO_Port, &GPIO_InitStruct);

  /*Configure GPIO pin : PB10 */
  GPIO_InitStruct.Pin = GPIO_PIN_10;
  GPIO_InitStruct.Mode = GPIO_MODE_OUTPUT_PP;
  GPIO_InitStruct.Pull = GPIO_NOPULL;
  GPIO_InitStruct.Speed = GPIO_SPEED_FREQ_LOW;
  HAL_GPIO_Init(GPIOB, &GPIO_InitStruct);

  /* EXTI interrupt init*/
  HAL_NVIC_SetPriority(EXTI15_10_IRQn, 0, 0);
  HAL_NVIC_EnableIRQ(EXTI15_10_IRQn);

}

/* USER CODE BEGIN 4 */
float Encoder_Velocity_Update()  //Lecture code DON'T TOUCH!
{
	//Save Last state
	static uint32_t EncoderLastPosition = 0;
	static uint64_t EncoderLastTimestamp = 0;
//	static uint32_t EncoderLastOffset = 0;

	//read data
//	uint32_t EncoderNowPosition = htim1.Instance->CNT; //pulse
	uint32_t EncoderNowPosition = Encoder_Position_Update(); //use position from unwarp
	uint64_t EncoderNowTimestamp = micros();
//	uint32_t EncoderNowOffset = 0;

	int32_t EncoderPositionDiff;
	uint64_t EncoderTimeDiff;

	EncoderTimeDiff = EncoderNowTimestamp - EncoderLastTimestamp;
	EncoderPositionDiff = EncoderNowPosition - EncoderLastPosition;
	if (clear_counter_velocity == 1)
	{
		clear_counter_velocity = 0;
		EncoderNowPosition = 0;
		EncoderLastPosition = 0;
	}

	//compensate overflow and underflow
//	if (EncoderPositionDiff >= Encoder_Overflow)
//	{
//		EncoderPositionDiff -= Encoder_Resolution;
//
//		//write new unwrapping
////		EncoderNowOffset = EncoderLastOffset - Encoder_Resolution;
////		EncoderPositionDiff = EncoderPositionDiff + EncoderNowOffset;
//		//EncoderPositionDiff -= 57344;
//	}
//	else if (-EncoderPositionDiff >= Encoder_Overflow)
//	{
//		EncoderPositionDiff += Encoder_Resolution;
//
////		write new unwrap
////		EncoderNowOffset = EncoderLastOffset + Encoder_Resolution;
////		EncoderPositionDiff = EncoderPositionDiff + EncoderNowOffset;
//		//EncoderPositionDiff += 57344;
//	}

	//Update Position and time
	EncoderLastPosition = EncoderNowPosition;
	EncoderLastTimestamp = EncoderNowTimestamp;
//	EncoderLastOffset = EncoderNowOffset;

	//Calculate velocity
	//EncoderTimeDiff is in uS
	return (EncoderPositionDiff * 1000000) / (float) EncoderTimeDiff;
}

float Encoder_Position_Update()  //Lecture code DON'T TOUCH!
{
	//Save Last state
	//read data
	static uint32_t EncoderPreviousPosition = 0;
	uint32_t EncoderCurrentPosition = 0;
	int32_t EncoderPositionDifferent;
	int32_t EncoderUnwrapPosition ;
	static uint32_t EncoderPreviousOffset = 0;
	static uint32_t EncoderCurrentOffset = 0;

	EncoderCurrentPosition = htim1.Instance->CNT; //pulse

	//delta position = current - previous
	EncoderPositionDifferent = EncoderCurrentPosition - EncoderPreviousPosition;
	//signal = current + current offset
	EncoderUnwrapPosition = EncoderCurrentPosition + EncoderCurrentOffset;

	if (clear_counter_position == 1)
	{
		clear_counter_position = 0;
		EncoderPreviousPosition = 0;
		EncoderCurrentPosition = 0;
		EncoderPreviousOffset = 0;
		EncoderCurrentOffset = 0;
		EncoderUnwrapPosition = 0;
		EncoderPositionDifferent = 0;
	}

	//compensate overflow and underflow
	if (EncoderPositionDifferent >= Encoder_Overflow)
	{
//		EncoderPositionDiff -= Encoder_Resolution;
//		EncoderUnwrapPosition = EncoderCurrentPosition - Encoder_Resolution;

//		write new unwrapping
		//current offset = previous offset - resolution of encoder max
		EncoderCurrentOffset = EncoderPreviousOffset - Encoder_Resolution;
		//signal = current + current offset
		EncoderUnwrapPosition = EncoderCurrentPosition + EncoderCurrentOffset;
//		EncoderPositionDiff -= 57344;
	}
	else if (-EncoderPositionDifferent >= Encoder_Overflow)
	{
//		EncoderPositionDiff += Encoder_Resolution;
//		EncoderUnwrapPosition = EncoderCurrentPosition + Encoder_Resolution;

//		write new unwrap
		EncoderCurrentOffset = EncoderPreviousOffset + Encoder_Resolution;
		EncoderUnwrapPosition = EncoderCurrentPosition + EncoderCurrentOffset;
//		EncoderPositionDiff += 57344;
	}

	//Update Position and time
	EncoderPreviousPosition = EncoderCurrentPosition;
	EncoderPreviousOffset = EncoderCurrentOffset;

	//Calculate velocity
	//EncoderTimeDiff is in uS
	return EncoderUnwrapPosition  ;
}

#define PWM_CHANNEL TIM_CHANNEL_4			//Set channel for PWM
#define GPIO_PIN_DIRECTION GPIO_PIN_10		//Set pin for direction
void Motor_Drive_PWM()	//Motor drive
{
	if (PWM_Out > 10000)		//If Velocity_Want_RPM exceed Velocity_Max_RPM
	{
		PWM_Out = 10000;		//Run with Velocity_Max_RPM
	}
	else if (PWM_Out < -10000)		//If Velocity_Want_RPM exceed Velocity_Max_RPM
	{
		PWM_Out = -10000;		//Run with Velocity_Max_RPM
	}

	if (PWM_Out < 0)
	{
		__HAL_TIM_SET_COMPARE(&htim3, PWM_CHANNEL, -PWM_Out);
		HAL_GPIO_WritePin(GPIOB, GPIO_PIN_DIRECTION, GPIO_PIN_RESET);
	}

	else if (PWM_Out >= 0)
	{
		__HAL_TIM_SET_COMPARE(&htim3, PWM_CHANNEL, PWM_Out);
		HAL_GPIO_WritePin(GPIOB, GPIO_PIN_DIRECTION, GPIO_PIN_SET);
	}
}

void quintic()
{
	if (initial == 1 && angle_rad_stop - angle_rad_start != 0)
	{
		//calculate tau
		//short if condition
		tau_max = 15/8*(angle_rad_stop - angle_rad_start)/omega_max >= sqrtf(abs(((10*powf(3+sqrtf(3),1))-(5*powf(3+sqrtf(3),2))+(5*powf(3+sqrtf(3),3)/9))*(angle_rad_stop-angle_rad_start)/alpha_max)) ? 15/8*(angle_rad_stop - angle_rad_start)/omega_max : sqrtf(abs(((10*powf(3+sqrtf(3),1))-(5*powf(3+sqrtf(3),2))+(5*powf(3+sqrtf(3),3)/9))*(angle_rad_stop-angle_rad_start)/alpha_max));

		//calculate coeffient
		c_0 = angle_rad_start;
		c_1 = 0;
		c_2 = 0;
		c_3 = 10*((angle_rad_stop - angle_rad_start)/(powf(tau_max,3)));
		c_4 = 15*((angle_rad_start - angle_rad_stop)/(powf(tau_max,4)));
		c_5 = 6*((angle_rad_stop - angle_rad_start)/(powf(tau_max,5)));
		//save initial time
		//change microsec to second
		time_initial = micros()/1000000.0;
		initial = 0;

		//initial parameter in kalman filter
		theta_estimate = angle_rad_start;
		omega_estimate = 0;
		p_estimate11 = 1 ;
		p_estimate12 = 0 ;
		p_estimate21 = 0 ;
		p_estimate22 = 1 ;

	}
	if (initial == 0 && angle_rad_stop - angle_rad_start != 0)
	{
		//at the final point
		//tau = (micros()/1000000.0)-time_initial ; in second unit
		if ((micros()/1000000.0)-time_initial >= tau_max)
		{
			initial = 1;
			angle_rad_start = angle_rad_stop;
			PWM_Out = 0;
			__HAL_TIM_SET_COMPARE(&htim3, PWM_CHANNEL, PWM_Out);
			error_position = 0;
			error_position_diff = 0;
			error_position_int = 0;
			error_position_prev = 0;
			error_velocity = 0;
			error_velocity_diff = 0;
			error_velocity_int = 0;
			error_velocity_prev = 0;
		}
		else //on going to final point
		{
			//tau = real time - initial time (duration in second unit)
			tau = micros()/1000000.0 - time_initial;
			desired_position = c_0*powf(tau,0) + c_1*powf(tau,1) + c_2*powf(tau,2) + c_3*powf(tau,3) + c_4*powf(tau,4) + c_5*powf(tau,5);
			desired_velocity = 0 + c_1 + 2*c_2*powf(tau,1) + 3*c_3*powf(tau,2) + 4*c_4*powf(tau,3) + 5*c_5*powf(tau,4);

			//kalman filter
			Kalman_Filter();

			//cascade control
			cascade_control_with_feed_forward();
		}
	}
}

void Kalman_Filter()
{
	//predict state
	//x_predict = A*x_estimate
	//x_predict = [theta_predict; omega_predict]
	//A = [1 dt; 0 1]
	//x_estimate = [theta_estimate; omega_estimate]
	theta_predict = theta_estimate + omega_estimate*CON_T;
	omega_predict = omega_estimate;

	//p_predict = A*p_estimate*transpose(A) + G*Q*transpose(G)
	//p_predict = [p_predict11 p_predict12 ; p_predict21 p_predict22]
	//p_estimate = [p_estimate11 p_estimate12 ; p_estimate21 p_estimate22] -> initial [1 0; 0 1]
	//G = [0.5*dt^2 ; dt]
	//Q = Sigma_a^2
	Q = powf(Sigma_a,2);
	p_predict11 = p_estimate11 + (p_estimate12 + p_estimate21)*CON_T + p_estimate22*powf(CON_T,2)+powf(CON_T,4)*Q/4.0;
	p_predict12 = p_estimate12 + p_estimate22*CON_T + powf(CON_T,3)*Q/2.0;
	p_predict21 = p_estimate21 + p_estimate22*CON_T + powf(CON_T,3)*Q/2.0;
	p_predict22 = p_estimate22 + powf(CON_T,2)*Q;

	//update
	//z_predict = z - C*x_predict
	//z_predict = theta_error
	//z = sensor_theta_input
	//C = [0 1]
	z_predict = Velocity_Now_Rad - omega_predict;

	//S = C*p_predict*transpose(C) + R
	//R = Sigma_w^2
	R = powf(Sigma_w,2);
	s = p_predict22 + R;

	//K = p_predict*transpose(C)*inv(S)
	//K = [k11;k21]
	k11 = p_predict12/s;
	k21 = p_predict22/s;

	//x_estimate = x_predict + K*z_predict
	theta_estimate = theta_predict + k11*z_predict;
	omega_estimate = omega_predict + k21*z_predict;

	//p_estimate = (I - K*C)*p_predict
	//I = [1 0; 0 1]
	p_estimate11 = (p_predict11*(p_predict22+R)-p_predict12*p_predict21)/s;
	p_estimate12 = p_predict12*R/s;
	p_estimate21 = p_predict21*R/s;
	p_estimate22 = p_predict22*R/s;

//	Q = powf(Sigma_a, 2);
//	R = powf(Sigma_w, 2);
//
//	float Position_Kalman_New = Position_Kalman + (Velocity_Kalman*CON_T);
//	float Velocity_Kalman_New = 0 + Velocity_Kalman;
//	float ye = Velocity_Now_Rad - Velocity_Kalman_New;
//
//	p11 = p11 + (CON_T*p21) + (Q*powf(fabs(CON_T),4))/4 + (powf(fabs(CON_T),2)*(p12 + CON_T*p22))/CON_T;
//	p12 = p12 + (CON_T*p22) + (Q*CON_T*powf(fabs(CON_T),2))/2;
//	p21 = (2*CON_T*p21 + Q*powf(fabs(CON_T),4) + 2*p22*powf(fabs(CON_T),2))/(2*CON_T);
//	p22 = Q*powf(fabs(CON_T),2) + p22;
//
//	Position_Kalman_New = Position_Kalman_New + (p12*ye)/(R+p22);
//	Velocity_Kalman_New = Velocity_Kalman_New + (p22*ye)/(R+p22);
//
//	p11 = p11 - (p12*p21)/(R+p22);
//	p12 = p12 - (p12*p22)/(R+p22);
//	p21 = -p21*(p22/(R+22)-1);
//	p22 = -p22*(p22/(R+22)-1);
//
//	Position_Kalman = Position_Kalman_New;
//	Velocity_Kalman = Velocity_Kalman_New;
}

void cascade_control_with_feed_forward()
{
	if (angle_rad_start < angle_rad_stop)
	{
		position_kd = 0;
		position_ki = 0;
		position_kp = 0.25;
		velocity_kd = 0;
		velocity_ki = 6000;
		velocity_kp = 8000;
	}
	else
	{
		position_kd = 0;
		position_ki = 0;
		position_kp = 0.5;
		velocity_kd = 0;
		velocity_ki = 1500;
		velocity_kp = 3000;
	}

	//position control
	error_position = desired_position - Position_Now_Rad;
	error_position_diff = (error_position - error_position_prev)*1000.0;
	error_position_int = error_position_int + error_position/1000.0;
	command_velocity = position_kp*error_position + position_ki*error_position_int + position_kd*error_position_diff + position_bias;
	error_position_prev = error_position;

	//					limitter velocity
	if (command_velocity > 1)
	{
		command_velocity = 1;
	}
	else if (command_velocity < -1)
	{
		command_velocity = -1;
	}

	//velocity control
	error_velocity = desired_velocity - omega_estimate + command_velocity;
	error_velocity_diff = (error_velocity - error_velocity_prev)*1000.0;
	error_velocity_int = error_velocity_int + error_velocity/1000.0;
	PWM_Out = velocity_kp*error_velocity + velocity_ki*error_velocity_int + velocity_kd*error_velocity_diff + velocity_bias;
	error_velocity_prev = error_velocity;

	//limitter pwm
	if (PWM_Out > 10000)
	{
		PWM_Out = 10000;
	}
	else if (PWM_Out < -10000)
	{
		PWM_Out = -10000;
	}

	//control motor direction
	if (PWM_Out < 0)
//	if (angle_rad_start > angle_rad_stop)
	{
		__HAL_TIM_SET_COMPARE(&htim3, PWM_CHANNEL, abs(PWM_Out));
		HAL_GPIO_WritePin(GPIOB, GPIO_PIN_DIRECTION, GPIO_PIN_RESET);
	}
	else
	{
		__HAL_TIM_SET_COMPARE(&htim3, PWM_CHANNEL, abs(PWM_Out));
		HAL_GPIO_WritePin(GPIOB, GPIO_PIN_DIRECTION, GPIO_PIN_SET);
	}
}

void Velocity_Control()  //Velocity Control PID
{

	if(NO_KALMAN)
	{
		Velocity_Now_RPM = (Velocity_Read_Encoder*60)/Encoder_Resolution;	//Convert Velocity_Read_Encoder (Encoder's velocity at the moment) to RPM
		Velocity_Now_Rad = (Velocity_Now_RPM*2*pi)/60;
	}

	else
	{
		Velocity_Now_Rad = Velocity_Kalman;
		Velocity_Now_RPM = Velocity_Now_Rad*60/(2*pi);
	}

	if (Velocity_Want_RPM > Velocity_Max_RPM)		//If Velocity_Want_RPM exceed Velocity_Max_RPM
	{
		Velocity_Want_RPM = Velocity_Max_RPM;		//Run with Velocity_Max_RPM
	}
	else if (Velocity_Want_RPM < -Velocity_Max_RPM)		//If Velocity_Want_RPM exceed Velocity_Max_RPM
	{
		Velocity_Want_RPM = -Velocity_Max_RPM;		//Run with Velocity_Max_RPM
	}

	Velocity_Error = Velocity_Want_RPM - Velocity_Now_RPM;
	Velocity_Error_Sum = Velocity_Error_Sum + Velocity_Error;
	Velocity_Error_Diff = Velocity_Error - Velocity_Error_Prev;
	Velocity_Error_Prev = Velocity_Error;

	PWM_Out = (Velocity_K_P*Velocity_Error) + (Velocity_K_I*Velocity_Error_Sum) + (Velocity_K_D*(Velocity_Error_Diff));

}
void Distance_Calculation()	//Calculate that distance is short or long
{
	//acceleration is fixed at 0.5 radian per second^2
	if(NO_KALMAN)
	{
		Position_Now_Degree = (Position_Read_Encoder*360)/Encoder_Resolution;  //degree
	}
	else
	{
		Position_Now_Degree = Position_Now_Rad*180/pi;
	}

	Distance_Degree_Set = Position_Want_Degree - Position_Now_Degree;  //Get distance from  EndPoint - StartPoint in degree
	if (Distance_Degree_Set < 0)
	{
		Distance_Degree_Set += 360;
	}
	Distance_Radian_Set = (Distance_Degree_Set*pi)/180;				   //Change Distance_Degree_Set to radian

	Velocity_Max_Rad = (Velocity_Max_RPM*2*pi)/60;					   //Change max velocity to radian per second

	Time_Blend = Velocity_Max_Rad*2;								   //Time used for motor to reach Velocity_Max_Rad with a=0.5 radian per second^2
	Time_Blend_Micro = Time_Blend*1000000;							   //Change from second to microsecond

	Distance_Blend = 2*(powf(Velocity_Max_Rad, 2));					   //Distance used for motor to reach Velocity_Max_Rad with a=0.5 radian per second^2

	if ((2*Distance_Blend) < Distance_Radian_Set)					   //Distance_Radian_Set is long enough to achieve Velocity_Max_Rad
	{
		Distance_Length = 1;
		Distance_Center = Distance_Radian_Set - (2*Distance_Blend);	   //Distance when a=0 radian per second^2
		Time_Center = Distance_Center/Velocity_Max_Rad;
		Time_Center_Micro = Time_Center*1000000;
		Time_All = (2*Time_Blend) + (Time_Center);//Time use to reach next station
		Time_All_Micro = Time_All*1000000;							   //Change from second to microsecond
	}

	else if ((2*Distance_Blend) >= Distance_Radian_Set)				   //Distance_Radian_Set is not long enough to achieve Velocity_Max_Rad
	{
		Distance_Length = 0;
		Time_Blend = sqrtf(Distance_Radian_Set*2);					   //Time used for motor to reach Velocity_Achieve_Rad with a=0.5 radian per second^2
		Time_Blend_Micro = Time_Blend*1000000;						   //Change from second to microsecond
		Time_All = (2*Time_Blend);
		Time_All_Micro = Time_All * 1000000;
		Velocity_Achieve_Rad = sqrtf(Distance_Radian_Set/2);		   //Top limit velocity that motor can achieve in short distance
		Velocity_Achieve_RPM = (Velocity_Achieve_Rad*60)/(2*pi);	   //Change from radian per second to RPM
	}

	Distance_Calculated = 1;
}
void Position_Control()  //Position Control PID
{

	if(NO_KALMAN)
	{
		Position_Read_Encoder = htim1.Instance->CNT;
		Position_Now_Degree = (Position_Read_Encoder*360)/Encoder_Resolution;  //degree

	}

	else
	{
		Position_Now_Degree = Position_Now_Rad*180/pi;
	}

	Position_Error = Position_Want_Degree - Position_Now_Degree;
	Position_Error_Sum = Position_Error_Sum + Position_Error;
	Position_Error_Diff = Position_Error - Position_Error_Prev;
	Position_Error_Prev = Position_Error;

	Velocity_Want_RPM = (Position_K_P*Position_Error) + (Position_K_I*Position_Error_Sum) + (Position_K_D*(Position_Error_Diff));

}
void Trajectory_Generation()  //Position Control with Trajectory Generation
{
	if(NO_KALMAN)
	{
		Position_Read_Encoder = htim1.Instance->CNT;
			Position_Now_Rad  = (Position_Read_Encoder*2*pi)/Encoder_Resolution;  //radian

	}
	else
	{
		Position_Now_Rad = Position_Kalman;
	}

	if (Trajectory_Flag == 0)
	{
		Time_Start = micros();
		Position_Start = Position_Now_Rad;
		Trajectory_Flag = 1;
	}
	Time_Trajectory_Stamp = micros();
	Distance_Traveled = Position_Now_Rad-Position_Start;
	if (Distance_Length == 1)
	{
		if ((Time_Trajectory_Stamp-Time_Start) <= Time_Blend_Micro)
		{
			Velocity_Want_RPM = Velocity_Max_RPM*((Time_Trajectory_Stamp-Time_Start)/Time_Blend_Micro);
			Trajectory_Flag = 2;
			P1 = Distance_Traveled;
		}
		else if (((Time_Trajectory_Stamp-Time_Start) > (Time_Blend_Micro) )
				&& (Time_Trajectory_Stamp-Time_Start < Time_All_Micro-Time_Blend_Micro))
		{
			Velocity_Want_RPM = Velocity_Max_RPM;
			P2 = Distance_Traveled-P1;
		}
		else if (((Time_Trajectory_Stamp-Time_Start) >= (Time_All_Micro-Time_Blend_Micro))
				&& (Time_Trajectory_Stamp-Time_Start <= Time_All_Micro) )
		{
			Velocity_Want_RPM = (-Velocity_Max_RPM)*((((Time_Trajectory_Stamp-Time_Start)-(Time_All_Micro-Time_Blend_Micro))/Time_Blend_Micro)-1);
			Trajectory_Flag = 3;

			P3 = Distance_Traveled-P2-P1;

		}
		else if ((Time_Trajectory_Stamp-Time_Start) >= Time_All_Micro)
		{
			Velocity_Want_RPM = 0;
			Trajectory_Flag = 4;
		}
	}

	else if (Distance_Length == 0)
	{
		if ((Time_Trajectory_Stamp-Time_Start) <= Time_Blend_Micro)
		{
			Velocity_Want_RPM = Velocity_Achieve_RPM*((Time_Trajectory_Stamp-Time_Start)/Time_Blend_Micro);
			Trajectory_Flag = 2;
		}
		else if (((Time_Trajectory_Stamp-Time_Start) >= Time_Blend_Micro)
				&& ((Time_Trajectory_Stamp-Time_Start) < (2*Time_Blend_Micro)))
		{
			Velocity_Want_RPM = (-Velocity_Achieve_RPM)*((((Time_Trajectory_Stamp-Time_Start)-Time_Blend_Micro)/Time_Blend_Micro)-1);
			Trajectory_Flag = 3;
		}
		else if ((Time_Trajectory_Stamp-Time_Start) >= (2*Time_Blend_Micro))
		{
			Velocity_Want_RPM = 0;
			Trajectory_Flag = 4;
		}
	}

}
void UARTInit(UARTStucrture *uart)
{
	//dynamic memory allocate
	uart->RxBuffer = (uint8_t*) calloc(sizeof(uint8_t), UART2.RxLen);
	uart->TxBuffer = (uint8_t*) calloc(sizeof(uint8_t), UART2.TxLen);
	uart->RxTail = 0;
	uart->TxTail = 0;
	uart->TxHead = 0;

}

void UARTResetStart(UARTStucrture *uart)
{
	HAL_UART_Receive_DMA(uart->huart, uart->RxBuffer, uart->RxLen);
}
uint32_t UARTGetRxHead(UARTStucrture *uart)
{
	return uart->RxLen - __HAL_DMA_GET_COUNTER(uart->huart->hdmarx);
}
int16_t UARTReadChar(UARTStucrture *uart)
{
	int16_t Result = -1; // -1 Mean no new data

	//check Buffer Position
	if (uart->RxTail != UARTGetRxHead(uart))
	{
		//get data from buffer
		Result = uart->RxBuffer[uart->RxTail];
		uart->RxTail = (uart->RxTail + 1) % uart->RxLen;

	}
	return Result;

}
void UARTTxDumpBuffer(UARTStucrture *uart)
{
	static uint8_t MultiProcessBlocker = 0;

	if (uart->huart->gState == HAL_UART_STATE_READY && !MultiProcessBlocker)
	{
		MultiProcessBlocker = 1;

		if (uart->TxHead != uart->TxTail)
		{
			//find len of data in buffer (Circular buffer but do in one way)
			uint16_t sentingLen =
					uart->TxHead > uart->TxTail ?
							uart->TxHead - uart->TxTail :
							uart->TxLen - uart->TxTail;

			//sent data via DMA
			HAL_UART_Transmit_DMA(uart->huart, &(uart->TxBuffer[uart->TxTail]),
					sentingLen);
			//move tail to new position
			uart->TxTail = (uart->TxTail + sentingLen) % uart->TxLen;

		}
		MultiProcessBlocker = 0;
	}
}
void UARTTxWrite(UARTStucrture *uart, uint8_t *pData, uint16_t len)
{
	//check data len is more than buffur?
	uint16_t lenAddBuffer = (len <= uart->TxLen) ? len : uart->TxLen;
	// find number of data before end of ring buffer
	uint16_t numberOfdataCanCopy =
			lenAddBuffer <= uart->TxLen - uart->TxHead ?
					lenAddBuffer : uart->TxLen - uart->TxHead;
	//copy data to the buffer
	memcpy(&(uart->TxBuffer[uart->TxHead]), pData, numberOfdataCanCopy);

	//Move Head to new position

	uart->TxHead = (uart->TxHead + lenAddBuffer) % uart->TxLen;
	//Check that we copy all data That We can?
	if (lenAddBuffer != numberOfdataCanCopy)
	{
		memcpy(uart->TxBuffer, &(pData[numberOfdataCanCopy]),
				lenAddBuffer - numberOfdataCanCopy);
	}
	UARTTxDumpBuffer(uart);

}
void UART_Protocol(UARTStucrture *uart, int16_t dataIn)
{

	switch (State)
	{
	case Start_Mode:
		Mode = dataIn;
		switch (Mode)
		{
		case Test_Command:
			Frame = 2;
			State = Data_Frame;
			break;
		case Connect_MCU:
			Frame = 1;
			State = Check_Sum;
			break;
		case Disconnect_MCU:
			Frame = 1;
			State = Check_Sum;
			break;
		case Velocity_Set:
			Frame = 2;
			State = Data_Frame;
			break;
		case Position_Set:
			Frame = 2;
			State = Data_Frame;
			break;
		case Goal_1_Set:
			Frame = 2;
			State = Data_Frame;
			break;
		case Goal_N_Set:
			Frame = 3;
			State = N_Station;
			break;
		case Go_to_Goal:
			Frame = 1;
			State = Check_Sum;
			break;
		case Station_Request:
			Frame = 1;
			State = Check_Sum;
			break;
		case Position_Request:
			Frame = 1;
			State = Check_Sum;
			break;
		case Velocity_Request:
			Frame = 1;
			State = Check_Sum;
			break;
		case Gripper_On:
			Frame = 1;
			State = Check_Sum;
			break;
		case Gripper_Off:
			Frame = 1;
			State = Check_Sum;
			break;
		case Home_Set:
			Frame = 1;
			State = Check_Sum;
			break;
		default:
			State = Start_Mode;
			Mode = 144;
			Frame = 0;
			Data = 0;
			Sum = 0;
			N = 0;
			len = 0;
			break;
		break;
		}
		break;
	case N_Station:
		N = dataIn;
		State = Data_Frame;
		break;
	case Data_Frame:
		Data = dataIn;
		switch (Mode)
		{
		case Test_Command:
			State = Check_Sum;
			break;
		case Velocity_Set:
			State = Check_Sum;
			break;
		case Position_Set:
			State = Check_Sum;
			break;
		case Goal_1_Set:
			State = Check_Sum;
			break;
		case Goal_N_Set:
			N -= 1;
			if (N == 0)
			{
				State = Check_Sum;
			}
			break;
		break;
		}

		break;
	case Check_Sum:
		Sum = dataIn;
		switch (Frame)
		{
		case 1:
			if (Sum == (uint8_t)~Mode)
			{
				UART_Do_Command();
			}
			else
			{
				State = Start_Mode;
				Mode = 144;
				Frame = 0;
				Data = 0;
				Sum = 0;
				N = 0;
				len = 0;
			}
			break;
		case 2:
			if (Sum == (uint8_t)~(Mode+Data))
			{
				UART_Do_Command();
			}
			else
			{
				State = Start_Mode;
				Mode = 144;
				Frame = 0;
				Data = 0;
				Sum = 0;
				N = 0;
				len = 0;
			}
			break;
		case 3:

			if (Sum == (uint8_t)~(Mode))
			{
				UART_Do_Command();
			}
			else
			{
				State = Start_Mode;
				Mode = 144;
				Frame = 0;
				Data = 0;
				Sum = 0;
				N = 0;
				len = 0;
			}
			break;
		break;
		}

		State = Start_Mode;
		break;

	break;
	}

}
void UART_Do_Command()
{
	if (Frame == 1)
	{
		uint8_t Test[] = {0, 0};
		Test[0] = Mode;
		Test[1] = Sum;
		UARTTxWrite(&UART2, Test, len);
		len = 0;
	}
	else if (Frame == 2)
	{
		uint8_t Test[] = {0, 0, 0};
		Test[0] = Mode;
		Test[1] = Data;
		Test[2] = Sum;
		UARTTxWrite(&UART2, Test, len);
		len = 0;
	}
	else if (Frame == 3)
	{

	}

	switch (Mode)
	{
	case Test_Command:
		break;
	case Connect_MCU:
		break;
	case Disconnect_MCU:
		break;
	case Velocity_Set:
		break;
	case Position_Set:
		break;
	case Goal_1_Set:
		break;
	case Goal_N_Set:
		break;
	case Go_to_Goal:
		break;
	case Station_Request:
		break;
	case Position_Request:
		break;
	case Velocity_Request:
		break;
	case Gripper_On:
		break;
	case Gripper_Off:
		break;
	case Home_Set:
		break;
	}

}
void HAL_TIM_PeriodElapsedCallback(TIM_HandleTypeDef *htim)
{
	if (htim == &htim2)
	{
		_micros += 4294967295;
	}
}
uint64_t micros()
{
	return _micros + htim2.Instance->CNT;
}
/* USER CODE END 4 */

void Error_Handler(void)
{
  __disable_irq();
  while (1)
  {
  }
}

/************************ (C) COPYRIGHT STMicroelectronics *****END OF FILE****/
